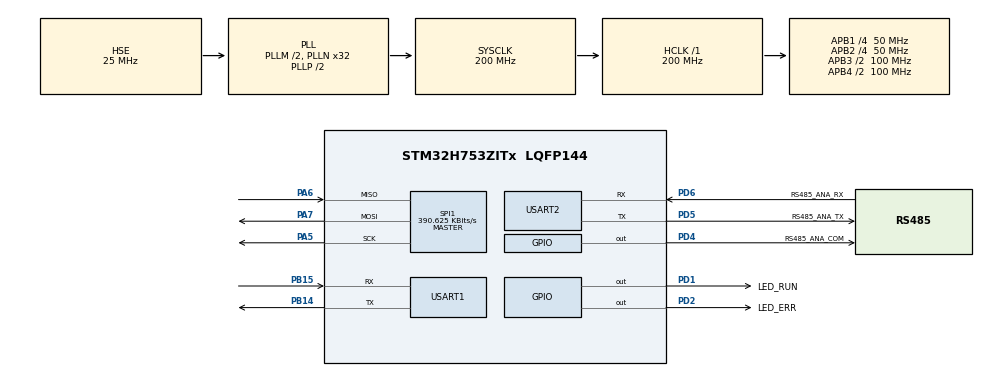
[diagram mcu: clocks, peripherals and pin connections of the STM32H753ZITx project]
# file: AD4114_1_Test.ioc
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CORTEX_M7.default_mode_Activation=1
Mcu.Family=STM32H7
Mcu.Name=STM32H753ZITx
Mcu.Package=LQFP144
NVIC.PriorityGroup=NVIC_PRIORITYGROUP_4
NVIC.USART1_IRQn=true\:0\:0\:false\:false\:true\:true\:true\:true
NVIC.USART2_IRQn=true\:0\:0\:false\:false\:true\:true\:true\:true
PA13\ (JTMS/SWDIO).Mode=Serial_Wire
PA13\ (JTMS/SWDIO).Signal=DEBUG_JTMS-SWDIO
PA14\ (JTCK/SWCLK).Mode=Serial_Wire
PA14\ (JTCK/SWCLK).Signal=DEBUG_JTCK-SWCLK
PA5.GPIO_Speed=GPIO_SPEED_FREQ_VERY_HIGH
PA5.Mode=Full_Duplex_Master
PA5.Signal=SPI1_SCK
PA6.GPIO_Speed=GPIO_SPEED_FREQ_VERY_HIGH
PA6.Mode=Full_Duplex_Master
PA6.Signal=SPI1_MISO
PA7.GPIO_Speed=GPIO_SPEED_FREQ_VERY_HIGH
PA7.Mode=Full_Duplex_Master
PA7.Signal=SPI1_MOSI
PB14.Mode=Asynchronous
PB14.Signal=USART1_TX
PB15.Mode=Asynchronous
PB15.Signal=USART1_RX
PC14-OSC32_IN\ (OSC32_IN).Mode=LSE-External-Oscillator
PC14-OSC32_IN\ (OSC32_IN).Signal=RCC_OSC32_IN
PC15-OSC32_OUT\ (OSC32_OUT).Mode=LSE-External-Oscillator
PC15-OSC32_OUT\ (OSC32_OUT).Signal=RCC_OSC32_OUT
PD1.GPIO_Label=LED_RUN
PD1.Signal=GPIO_Output
PD2.GPIO_Label=LED_ERR
PD2.Signal=GPIO_Output
PD4.GPIO_Label=RS485_ANA_COM
PD4.Signal=GPIO_Output
PD5.GPIO_Label=RS485_ANA_TX
PD5.Mode=Asynchronous
PD5.Signal=USART2_TX
PD6.GPIO_Label=RS485_ANA_RX
PD6.Mode=Asynchronous
PD6.Signal=USART2_RX
PH0-OSC_IN\ (PH0).Mode=HSE-External-Oscillator
PH0-OSC_IN\ (PH0).Signal=RCC_OSC_IN
PH1-OSC_OUT\ (PH1).Mode=HSE-External-Oscillator
PH1-OSC_OUT\ (PH1).Signal=RCC_OSC_OUT
ProjectManager.HeapSize=0x200
ProjectManager.StackSize=0x400
ProjectManager.TargetToolchain=STM32CubeIDE
RCC.ADCFreq_Value=50390625
RCC.APB1Freq_Value=50000000
RCC.APB2Freq_Value=50000000
RCC.APB3Freq_Value=100000000
RCC.APB4Freq_Value=100000000
RCC.CortexFreq_Value=200000000
RCC.D1PPRE=RCC_APB3_DIV2
RCC.D2PPRE1=RCC_APB1_DIV4
RCC.D2PPRE2=RCC_APB2_DIV4
RCC.D3PPRE=RCC_APB4_DIV2
RCC.DIVM1=2
RCC.DIVN1=32
RCC.DIVQ1=4
RCC.FDCANCLockSelection=RCC_FDCANCLKSOURCE_HSE
RCC.HCLKFreq_Value=200000000
RCC.PLLFRACN=0
RCC.PLLSourceVirtual=RCC_PLLSOURCE_HSE
RCC.SYSCLKFreq_VALUE=200000000
RCC.SYSCLKSource=RCC_SYSCLKSOURCE_PLLCLK
RCC.USBFreq_Value=100000000
SPI1.BaudRatePrescaler=SPI_BAUDRATEPRESCALER_256
SPI1.CLKPhase=SPI_PHASE_2EDGE
SPI1.CLKPolarity=SPI_POLARITY_HIGH
SPI1.CalculateBaudRate=390.625 KBits/s
SPI1.DataSize=SPI_DATASIZE_8BIT
SPI1.Direction=SPI_DIRECTION_2LINES
SPI1.Mode=SPI_MODE_MASTER
SPI1.NSSPMode=SPI_NSS_PULSE_DISABLE
SPI1.VirtualType=VM_MASTER
USART1.VirtualMode-Asynchronous=VM_ASYNC
USART2.VirtualMode-Asynchronous=VM_ASYNC
VP_MEMORYMAP_VS_MEMORYMAP.Mode=CurAppReg
board=custom

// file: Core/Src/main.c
/* USER CODE BEGIN Header */
/**
  ******************************************************************************
  * @file           : main.c
  * @brief          : AD4114_0 Test - Using Analog Devices Official no-OS Driver
  ******************************************************************************
  * @attention
  *
  * AD4114_0 is connected to SPI1 (PA5=SCK, PA6=MISO, PA7=MOSI)
  * Debug output on USART1 (PB14=TX, PB15=RX) @ 115200 baud
  *
  * Hardware: AD4114BCPZ 24-bit Sigma-Delta ADC
  * - SPI Mode 3 (CPOL=1, CPHA=1)
  * - CS tied to GND (3-wire mode, directly connected to SPI)
  * - Internal 2.5V reference
  *
  * This version uses the official Analog Devices no-OS driver from:
  * https://github.com/analogdevicesinc/no-OS/tree/master/drivers/adc/ad717x
  *
  ******************************************************************************
  */
/* USER CODE END Header */
#include "main.h"

/* USER CODE BEGIN Includes */
#include <stdio.h>
#include <string.h>
#include <stdarg.h>
#include "ad717x.h"
#include "ad411x_regs.h"
/* USER CODE END Includes */

/* USER CODE BEGIN PD */
#define NUM_REGS (sizeof(ad4111_regs) / sizeof(ad4111_regs[0]))
/* USER CODE END PD */

SPI_HandleTypeDef hspi1;

UART_HandleTypeDef huart1;
UART_HandleTypeDef huart2;

/* USER CODE BEGIN PV */
static char uart_buf[256];
static ad717x_dev *ad4114_dev = NULL;
/* USER CODE END PV */

void SystemClock_Config(void);
static void MPU_Config(void);
static void MX_GPIO_Init(void);
static void MX_USART1_UART_Init(void);
static void MX_USART2_UART_Init(void);
static void MX_SPI1_Init(void);
/* USER CODE BEGIN PFP */
static void Debug_Print(const char *fmt, ...);
/* USER CODE END PFP */

/* USER CODE BEGIN 0 */

/**
 * @brief  Debug print to UART1
 */
static void Debug_Print(const char *fmt, ...)
{
    va_list args;
    va_start(args, fmt);
    int len = vsnprintf(uart_buf, sizeof(uart_buf), fmt, args);
    va_end(args);

    if (len > 0) {
        HAL_UART_Transmit(&huart1, (uint8_t*)uart_buf, len, 100);
    }
}

/* USER CODE END 0 */

int main(void)
{

  /* MPU Configuration--------------------------------------------------------*/
  MPU_Config();

  /* MCU Configuration--------------------------------------------------------*/

  /* Reset of all peripherals, Initializes the Flash interface and the Systick. */
  HAL_Init();

  /* Configure the system clock */
  SystemClock_Config();

  /* Initialize all configured peripherals */
  MX_GPIO_Init();
  MX_USART1_UART_Init();
  MX_USART2_UART_Init();
  MX_SPI1_Init();
  /* USER CODE BEGIN 2 */

  /* Wait for AD4114 power-up */
  HAL_Delay(500);

  Debug_Print("\r\n");
  Debug_Print("============================================\r\n");
  Debug_Print("  AD4114_0 TEST - Analog Devices no-OS Driver\r\n");
  Debug_Print("  SPI1: PA5(SCK) PA6(MISO) PA7(MOSI)\r\n");
  Debug_Print("  CS: Tied to GND (3-wire mode)\r\n");
  Debug_Print("============================================\r\n\r\n");

  /* Configure AD717x initialization parameters */
  ad717x_init_param init_param = {0};

  /* SPI configuration - use our STM32 HAL wrapper */
  init_param.spi_init.hspi = &hspi1;
  init_param.spi_init.chip_select_port = 0;  /* Not used - CS tied to GND */
  init_param.spi_init.chip_select_pin = 0;

  /* Device configuration */
  init_param.active_device = ID_AD4114;
  init_param.regs = ad4111_regs;
  init_param.num_regs = NUM_REGS;
  init_param.ref_en = true;  /* Enable internal 2.5V reference */
  init_param.num_channels = 4;  /* We'll use 4 channels for testing */
  init_param.num_setups = 1;
  init_param.mode = SINGLE;  /* Single conversion mode */

  /* Setup 0 configuration - for 0-10V voltage measurement */
  init_param.setups[0].bi_unipolar = false;  /* Bipolar mode for voltage */
  init_param.setups[0].ref_source = INTERNAL_REF;  /* Internal 2.5V reference */
  init_param.setups[0].input_buff = true;  /* Enable input buffers */
  init_param.setups[0].ref_buff = false;  /* Disable ref buffers (internal ref) */

  /* Filter configuration - 50 SPS */
  init_param.filter_configuration[0].odr = sps_49;

  /* Channel 0: VIN0 (0-10V) - AIN1 vs VINCOM
   * From AD4114 datasheet Table 27:
   * VIN0_VINCOM = 0x10 = AIN0 vs VINCOM
   */
  init_param.chan_map[0].channel_enable = false;  /* Disabled initially */
  init_param.chan_map[0].setup_sel = 0;
  init_param.chan_map[0].analog_inputs.analog_input_pairs = VIN0_VINCOM;

  /* Channel 1: VIN1 (0-10V) - AIN1 vs VINCOM */
  init_param.chan_map[1].channel_enable = false;
  init_param.chan_map[1].setup_sel = 0;
  init_param.chan_map[1].analog_inputs.analog_input_pairs = VIN1_VINCOM;

  /* Channel 2: VIN2 (0-10V) - AIN2 vs VINCOM */
  init_param.chan_map[2].channel_enable = false;
  init_param.chan_map[2].setup_sel = 0;
  init_param.chan_map[2].analog_inputs.analog_input_pairs = VIN2_VINCOM;

  /* Channel 3: VIN3 (0-10V) - AIN3 vs VINCOM */
  init_param.chan_map[3].channel_enable = false;
  init_param.chan_map[3].setup_sel = 0;
  init_param.chan_map[3].analog_inputs.analog_input_pairs = VIN3_VINCOM;

  /* First, do a manual reset and ID read to verify SPI communication */
  Debug_Print("[AD4114] Step 1: Manual SPI Reset (64 clocks with DIN=1)...\r\n");
  {
      uint8_t reset_buf[8] = {0xFF, 0xFF, 0xFF, 0xFF, 0xFF, 0xFF, 0xFF, 0xFF};

      /* Send 64 clocks with DIN HIGH to reset */
      HAL_SPI_Transmit(&hspi1, reset_buf, 8, 100);
      HAL_Delay(1);  /* Wait 500us+ for LDO */
      HAL_SPI_Transmit(&hspi1, reset_buf, 8, 100);
      HAL_Delay(10);

      Debug_Print("[AD4114] Reset complete, waiting for stabilization...\r\n");
      HAL_Delay(100);
  }

  Debug_Print("\r\n[AD4114] Step 2: Manual ID Register Read (0x07)...\r\n");
  {
      /* Try multiple times with different approaches */
      for (int attempt = 1; attempt <= 3; attempt++) {
          Debug_Print("\r\n  Attempt %d:\r\n", attempt);

          /* Send command byte first, then read */
          uint8_t cmd = 0x47;  /* Read ID register */
          uint8_t rx_cmd = 0;
          uint8_t data[2] = {0x00, 0x00};
          uint8_t rx_data[2] = {0};

          /* Method 1: Separate transmit and receive */
          HAL_SPI_TransmitReceive(&hspi1, &cmd, &rx_cmd, 1, 100);
          HAL_Delay(1);  /* Small delay between command and data */
          HAL_SPI_TransmitReceive(&hspi1, data, rx_data, 2, 100);

          Debug_Print("    Method 1 (separate): CMD_RX=%02X, DATA_RX=%02X %02X\r\n",
                     rx_cmd, rx_data[0], rx_data[1]);

          uint16_t id1 = ((uint16_t)rx_data[0] << 8) | rx_data[1];
          Debug_Print("    Parsed ID: 0x%04X\r\n", id1);

          HAL_Delay(10);

          /* Method 2: All in one transaction */
          uint8_t tx_buf[3] = {0x47, 0x00, 0x00};
          uint8_t rx_buf[3] = {0};
          HAL_SPI_TransmitReceive(&hspi1, tx_buf, rx_buf, 3, 100);

          Debug_Print("    Method 2 (combined): RX=%02X %02X %02X\r\n",
                     rx_buf[0], rx_buf[1], rx_buf[2]);

          uint16_t id2 = ((uint16_t)rx_buf[1] << 8) | rx_buf[2];
          Debug_Print("    Parsed ID: 0x%04X\r\n", id2);

          if ((id1 & 0xFFF0) == 0x30D0 || (id2 & 0xFFF0) == 0x30D0) {
              Debug_Print("  -> VALID AD4114 ID detected!\r\n");
              break;
          } else if (id2 == 0xFFFF) {
              Debug_Print("  -> MISO stuck HIGH\r\n");
          } else if (id2 == 0x0000) {
              Debug_Print("  -> MISO stuck LOW\r\n");
          }

          /* Extra reset between attempts */
          uint8_t reset_buf[8] = {0xFF, 0xFF, 0xFF, 0xFF, 0xFF, 0xFF, 0xFF, 0xFF};
          HAL_SPI_Transmit(&hspi1, reset_buf, 8, 100);
          HAL_Delay(100);
      }

      Debug_Print("\r\n  Hardware Check Required:\r\n");
      Debug_Print("  - Is CS (Pin 17) tied to GND?\r\n");
      Debug_Print("  - Is AVDD = 5V, IOVDD = 3.3V?\r\n");
      Debug_Print("  - Are SPI wires correct? (SCK=PA5, MISO=PA6, MOSI=PA7)\r\n");
  }

  Debug_Print("\r\n[AD4114] Step 3: Initializing with no-OS driver...\r\n");

  int32_t ret = AD717X_Init(&ad4114_dev, init_param);

  if (ret < 0) {
      Debug_Print("[AD4114] ERROR: Init failed with code %ld\r\n", (long)ret);
      Debug_Print("[AD4114] Possible causes:\r\n");
      Debug_Print("  - SPI Mode incorrect (need Mode 3: CPOL=1, CPHA=1)\r\n");
      Debug_Print("  - CS not tied to GND\r\n");
      Debug_Print("  - Wrong SPI pins (need PA5=SCK, PA6=MISO, PA7=MOSI)\r\n");
      Debug_Print("  - AD4114 not powered\r\n");
  } else {
      Debug_Print("[AD4114] Init SUCCESS!\r\n");

      /* Read and display ID */
      ad717x_st_reg *id_reg = AD717X_GetReg(ad4114_dev, AD717X_ID_REG);
      if (id_reg) {
          Debug_Print("[AD4114] Chip ID: 0x%04lX\r\n", (unsigned long)id_reg->value);
      }

      /* Read and display ADCMODE register */
      AD717X_ReadRegister(ad4114_dev, AD717X_ADCMODE_REG);
      ad717x_st_reg *adcmode_reg = AD717X_GetReg(ad4114_dev, AD717X_ADCMODE_REG);
      if (adcmode_reg) {
          Debug_Print("[AD4114] ADCMODE: 0x%04lX (REF_EN=%d)\r\n",
                     (unsigned long)adcmode_reg->value,
                     (adcmode_reg->value & 0x8000) ? 1 : 0);
      }

      /* Read and display SETUPCON0 register */
      AD717X_ReadRegister(ad4114_dev, AD717X_SETUPCON0_REG);
      ad717x_st_reg *setup_reg = AD717X_GetReg(ad4114_dev, AD717X_SETUPCON0_REG);
      if (setup_reg) {
          Debug_Print("[AD4114] SETUPCON0: 0x%04lX (BI_UNI=%d, INBUF=%d, REF=%d)\r\n",
                     (unsigned long)setup_reg->value,
                     (setup_reg->value & 0x1000) ? 1 : 0,
                     (setup_reg->value >> 8) & 0x3,
                     (setup_reg->value >> 4) & 0x3);
      }
  }

  Debug_Print("\r\n");

  uint32_t scan_count = 0;

  /* USER CODE END 2 */

  /* Infinite loop */
  while (1)
  {

    /* USER CODE BEGIN 3 */

    Debug_Print("\r\n========== SCAN #%lu ==========\r\n", (unsigned long)++scan_count);
    Debug_Print("CH  |    RAW ADC   |  Voltage  | Notes\r\n");
    Debug_Print("----|--------------|-----------|------------------\r\n");

    if (ad4114_dev != NULL) {
        /* Read channels 0-3 using the official driver */
        for (uint8_t ch = 0; ch < 4; ch++) {
            int32_t adc_raw = 0;

            /* Use the official single_read function */
            ret = ad717x_single_read(ad4114_dev, ch, &adc_raw);

            const char* label = "";
            const char* expected = "";
            if (ch == 0) { label = "VIN0"; expected = "POT ~0V"; }
            else if (ch == 1) { label = "VIN1"; expected = "POT ~0V"; }
            else if (ch == 2) { label = "VIN2"; expected = "float"; }
            else if (ch == 3) { label = "VIN3"; expected = "float"; }

            if (ret == 0) {
                /* BIPOLAR voltage formula:
                 * AD4114 Bipolar Output Code:
                 * - Code 0x000000 (0) = -VREF = -2.5V
                 * - Code 0x800000 (8388608) = 0V (mid-scale)
                 * - Code 0xFFFFFF (16777215) = +VREF - 1LSB ≈ +2.5V
                 *
                 * With 4:1 voltage divider for 0-10V:
                 *   Actual_mV = ((Code - 8388608) * 10000) / 8388608
                 */
                int32_t centered = adc_raw - 8388608;
                int64_t temp = (int64_t)centered * 10000LL;
                int32_t voltage_mv = (int32_t)(temp / 8388608LL);

                char sign = (voltage_mv >= 0) ? '+' : '-';
                int32_t abs_mv = (voltage_mv >= 0) ? voltage_mv : -voltage_mv;
                int32_t volts = abs_mv / 1000;
                int32_t millis = abs_mv % 1000;

                Debug_Print("CH%02d| RAW: %8ld | %c%2ld.%03ld V | %s (%s)\r\n",
                           ch, (long)adc_raw,
                           sign, (long)volts, (long)millis,
                           label, expected);
            } else {
                Debug_Print("CH%02d| ERROR: %ld   |   ----    | %s (%s)\r\n",
                           ch, (long)ret, label, expected);
            }

            HAL_GPIO_TogglePin(LED_RUN_GPIO_Port, LED_RUN_Pin);
        }
    } else {
        Debug_Print("AD4114 not initialized - skipping channel reads\r\n");

        /* Manual SPI test */
        Debug_Print("\r\nManual SPI test:\r\n");
        uint8_t tx_buf[4] = {0x47, 0xFF, 0xFF, 0xFF};
        uint8_t rx_buf[4] = {0};
        HAL_SPI_TransmitReceive(&hspi1, tx_buf, rx_buf, 4, 100);
        Debug_Print("  RX: %02X %02X %02X %02X\r\n", rx_buf[0], rx_buf[1], rx_buf[2], rx_buf[3]);
    }

    Debug_Print("==================================\r\n");
    Debug_Print("Next scan in 5 seconds...\r\n");

    /* Wait 5 seconds before next scan */
    HAL_Delay(5000);
  }
  /* USER CODE END 3 */
}

void SystemClock_Config(void)
{
  RCC_OscInitTypeDef RCC_OscInitStruct = {0};
  RCC_ClkInitTypeDef RCC_ClkInitStruct = {0};

  /** Supply configuration update enable
  */
  HAL_PWREx_ConfigSupply(PWR_LDO_SUPPLY);

  /** Configure the main internal regulator output voltage
  */
  __HAL_PWR_VOLTAGESCALING_CONFIG(PWR_REGULATOR_VOLTAGE_SCALE3);

  while(!__HAL_PWR_GET_FLAG(PWR_FLAG_VOSRDY)) {}

  /** Initializes the RCC Oscillators according to the specified parameters
  * in the RCC_OscInitTypeDef structure.
  */
  RCC_OscInitStruct.OscillatorType = RCC_OSCILLATORTYPE_HSE;
  RCC_OscInitStruct.HSEState = RCC_HSE_ON;
  RCC_OscInitStruct.PLL.PLLState = RCC_PLL_ON;
  RCC_OscInitStruct.PLL.PLLSource = RCC_PLLSOURCE_HSE;
  RCC_OscInitStruct.PLL.PLLM = 2;
  RCC_OscInitStruct.PLL.PLLN = 32;
  RCC_OscInitStruct.PLL.PLLP = 2;
  RCC_OscInitStruct.PLL.PLLQ = 4;
  RCC_OscInitStruct.PLL.PLLR = 2;
  RCC_OscInitStruct.PLL.PLLRGE = RCC_PLL1VCIRANGE_3;
  RCC_OscInitStruct.PLL.PLLVCOSEL = RCC_PLL1VCOWIDE;
  RCC_OscInitStruct.PLL.PLLFRACN = 0;
  if (HAL_RCC_OscConfig(&RCC_OscInitStruct) != HAL_OK)
  {
    Error_Handler();
  }

  /** Initializes the CPU, AHB and APB buses clocks
  */
  RCC_ClkInitStruct.ClockType = RCC_CLOCKTYPE_HCLK|RCC_CLOCKTYPE_SYSCLK
                              |RCC_CLOCKTYPE_PCLK1|RCC_CLOCKTYPE_PCLK2
                              |RCC_CLOCKTYPE_D3PCLK1|RCC_CLOCKTYPE_D1PCLK1;
  RCC_ClkInitStruct.SYSCLKSource = RCC_SYSCLKSOURCE_PLLCLK;
  RCC_ClkInitStruct.SYSCLKDivider = RCC_SYSCLK_DIV1;
  RCC_ClkInitStruct.AHBCLKDivider = RCC_HCLK_DIV1;
  RCC_ClkInitStruct.APB3CLKDivider = RCC_APB3_DIV2;
  RCC_ClkInitStruct.APB1CLKDivider = RCC_APB1_DIV4;
  RCC_ClkInitStruct.APB2CLKDivider = RCC_APB2_DIV4;
  RCC_ClkInitStruct.APB4CLKDivider = RCC_APB4_DIV2;

  if (HAL_RCC_ClockConfig(&RCC_ClkInitStruct, FLASH_LATENCY_4) != HAL_OK)
  {
    Error_Handler();
  }
}

static void MX_SPI1_Init(void)
{

  /* SPI1 parameter configuration*/
  hspi1.Instance = SPI1;
  hspi1.Init.Mode = SPI_MODE_MASTER;
  hspi1.Init.Direction = SPI_DIRECTION_2LINES;
  hspi1.Init.DataSize = SPI_DATASIZE_8BIT;
  hspi1.Init.CLKPolarity = SPI_POLARITY_HIGH;
  hspi1.Init.CLKPhase = SPI_PHASE_2EDGE;
  hspi1.Init.NSS = SPI_NSS_SOFT;
  hspi1.Init.BaudRatePrescaler = SPI_BAUDRATEPRESCALER_256;
  hspi1.Init.FirstBit = SPI_FIRSTBIT_MSB;
  hspi1.Init.TIMode = SPI_TIMODE_DISABLE;
  hspi1.Init.CRCCalculation = SPI_CRCCALCULATION_DISABLE;
  hspi1.Init.CRCPolynomial = 0x0;
  hspi1.Init.NSSPMode = SPI_NSS_PULSE_DISABLE;
  hspi1.Init.NSSPolarity = SPI_NSS_POLARITY_LOW;
  hspi1.Init.FifoThreshold = SPI_FIFO_THRESHOLD_01DATA;
  hspi1.Init.TxCRCInitializationPattern = SPI_CRC_INITIALIZATION_ALL_ZERO_PATTERN;
  hspi1.Init.RxCRCInitializationPattern = SPI_CRC_INITIALIZATION_ALL_ZERO_PATTERN;
  hspi1.Init.MasterSSIdleness = SPI_MASTER_SS_IDLENESS_00CYCLE;
  hspi1.Init.MasterInterDataIdleness = SPI_MASTER_INTERDATA_IDLENESS_00CYCLE;
  hspi1.Init.MasterReceiverAutoSusp = SPI_MASTER_RX_AUTOSUSP_DISABLE;
  hspi1.Init.MasterKeepIOState = SPI_MASTER_KEEP_IO_STATE_DISABLE;
  hspi1.Init.IOSwap = SPI_IO_SWAP_DISABLE;
  if (HAL_SPI_Init(&hspi1) != HAL_OK)
  {
    Error_Handler();
  }

}

static void MX_USART1_UART_Init(void)
{

  huart1.Instance = USART1;
  huart1.Init.BaudRate = 115200;
  huart1.Init.WordLength = UART_WORDLENGTH_8B;
  huart1.Init.StopBits = UART_STOPBITS_1;
  huart1.Init.Parity = UART_PARITY_NONE;
  huart1.Init.Mode = UART_MODE_TX_RX;
  huart1.Init.HwFlowCtl = UART_HWCONTROL_NONE;
  huart1.Init.OverSampling = UART_OVERSAMPLING_16;
  huart1.Init.OneBitSampling = UART_ONE_BIT_SAMPLE_DISABLE;
  huart1.Init.ClockPrescaler = UART_PRESCALER_DIV1;
  huart1.AdvancedInit.AdvFeatureInit = UART_ADVFEATURE_NO_INIT;
  if (HAL_UART_Init(&huart1) != HAL_OK)
  {
    Error_Handler();
  }
  if (HAL_UARTEx_SetTxFifoThreshold(&huart1, UART_TXFIFO_THRESHOLD_1_8) != HAL_OK)
  {
    Error_Handler();
  }
  if (HAL_UARTEx_SetRxFifoThreshold(&huart1, UART_RXFIFO_THRESHOLD_1_8) != HAL_OK)
  {
    Error_Handler();
  }
  if (HAL_UARTEx_DisableFifoMode(&huart1) != HAL_OK)
  {
    Error_Handler();
  }

}

static void MX_USART2_UART_Init(void)
{

  huart2.Instance = USART2;
  huart2.Init.BaudRate = 115200;
  huart2.Init.WordLength = UART_WORDLENGTH_8B;
  huart2.Init.StopBits = UART_STOPBITS_1;
  huart2.Init.Parity = UART_PARITY_NONE;
  huart2.Init.Mode = UART_MODE_TX_RX;
  huart2.Init.HwFlowCtl = UART_HWCONTROL_NONE;
  huart2.Init.OverSampling = UART_OVERSAMPLING_16;
  huart2.Init.OneBitSampling = UART_ONE_BIT_SAMPLE_DISABLE;
  huart2.Init.ClockPrescaler = UART_PRESCALER_DIV1;
  huart2.AdvancedInit.AdvFeatureInit = UART_ADVFEATURE_NO_INIT;
  if (HAL_UART_Init(&huart2) != HAL_OK)
  {
    Error_Handler();
  }
  if (HAL_UARTEx_SetTxFifoThreshold(&huart2, UART_TXFIFO_THRESHOLD_1_8) != HAL_OK)
  {
    Error_Handler();
  }
  if (HAL_UARTEx_SetRxFifoThreshold(&huart2, UART_RXFIFO_THRESHOLD_1_8) != HAL_OK)
  {
    Error_Handler();
  }
  if (HAL_UARTEx_DisableFifoMode(&huart2) != HAL_OK)
  {
    Error_Handler();
  }

}

static void MX_GPIO_Init(void)
{
  GPIO_InitTypeDef GPIO_InitStruct = {0};

  /* GPIO Ports Clock Enable */
  __HAL_RCC_GPIOC_CLK_ENABLE();
  __HAL_RCC_GPIOH_CLK_ENABLE();
  __HAL_RCC_GPIOA_CLK_ENABLE();
  __HAL_RCC_GPIOB_CLK_ENABLE();
  __HAL_RCC_GPIOD_CLK_ENABLE();

  /*Configure GPIO pin Output Level */
  HAL_GPIO_WritePin(GPIOD, LED_RUN_Pin|LED_ERR_Pin|RS485_ANA_COM_Pin, GPIO_PIN_RESET);

  /*Configure GPIO pins : LED_RUN_Pin LED_ERR_Pin RS485_ANA_COM_Pin */
  GPIO_InitStruct.Pin = LED_RUN_Pin|LED_ERR_Pin|RS485_ANA_COM_Pin;
  GPIO_InitStruct.Mode = GPIO_MODE_OUTPUT_PP;
  GPIO_InitStruct.Pull = GPIO_NOPULL;
  GPIO_InitStruct.Speed = GPIO_SPEED_FREQ_LOW;
  HAL_GPIO_Init(GPIOD, &GPIO_InitStruct);

}

 /* MPU Configuration */

void MPU_Config(void)
{
  MPU_Region_InitTypeDef MPU_InitStruct = {0};

  /* Disables the MPU */
  HAL_MPU_Disable();

  /** Initializes and configures the Region and the memory to be protected
  */
  MPU_InitStruct.Enable = MPU_REGION_ENABLE;
  MPU_InitStruct.Number = MPU_REGION_NUMBER0;
  MPU_InitStruct.BaseAddress = 0x0;
  MPU_InitStruct.Size = MPU_REGION_SIZE_4GB;
  MPU_InitStruct.SubRegionDisable = 0x87;
  MPU_InitStruct.TypeExtField = MPU_TEX_LEVEL0;
  MPU_InitStruct.AccessPermission = MPU_REGION_NO_ACCESS;
  MPU_InitStruct.DisableExec = MPU_INSTRUCTION_ACCESS_DISABLE;
  MPU_InitStruct.IsShareable = MPU_ACCESS_SHAREABLE;
  MPU_InitStruct.IsCacheable = MPU_ACCESS_NOT_CACHEABLE;
  MPU_InitStruct.IsBufferable = MPU_ACCESS_NOT_BUFFERABLE;

  HAL_MPU_ConfigRegion(&MPU_InitStruct);
  /* Enables the MPU */
  HAL_MPU_Enable(MPU_PRIVILEGED_DEFAULT);

}

void Error_Handler(void)
{
  __disable_irq();
  while (1)
  {
  }
}
